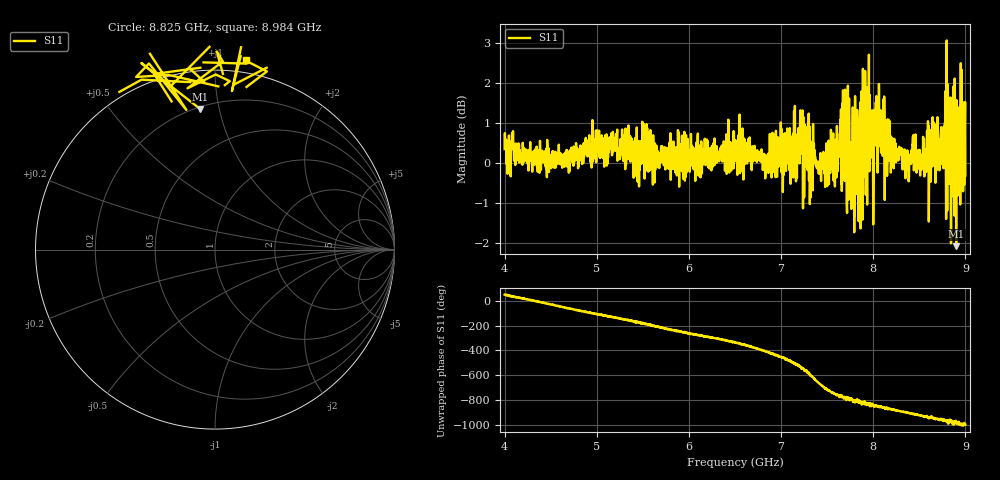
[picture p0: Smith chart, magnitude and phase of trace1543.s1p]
! Created with skrf 1.8.0 (http://scikit-rf.org).
# Hz S RI R 50.0
!freq ReS11 ImS11
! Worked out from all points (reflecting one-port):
!   1601 points, 4 GHz to 9 GHz, reference 50 ohm
!   lowest |S11| = -2.1 dB at 8.9 GHz (marker M1), VSWR 8.44, Z = 10.6 + j43.9 ohm
!   phase of S11 starts at 51 deg and turns -1050 deg over the sweep
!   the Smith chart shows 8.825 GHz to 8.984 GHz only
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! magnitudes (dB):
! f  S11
! 4 GHz  0.4
! 4.625 GHz  -0.1
! 5.25 GHz  0.1
! 5.875 GHz  0.2
! 6.5 GHz  0.3
! 6.825 GHz  0.0
! 7.125 GHz  0.7
! 7.209 GHz  1.3
! 7.262 GHz  0.1
! 7.284 GHz  0.8
! 7.328 GHz  -0.1
! 7.494 GHz  -0.3
! 7.684 GHz  0.2
! 7.75 GHz  -0.2
! 7.769 GHz  -0.2
! 7.834 GHz  0.9
! 7.962 GHz  1.7
! 7.981 GHz  0.5
! 8.038 GHz  0.7
! 8.375 GHz  0.0
! 8.612 GHz  0.1
! 8.656 GHz  0.8
! 8.7 GHz  0.1
! 8.8 GHz  0.3
! 8.844 GHz  -2.0
! 8.9 GHz  -2.1
! 8.972 GHz  0.3
! 9 GHz  -0.3
